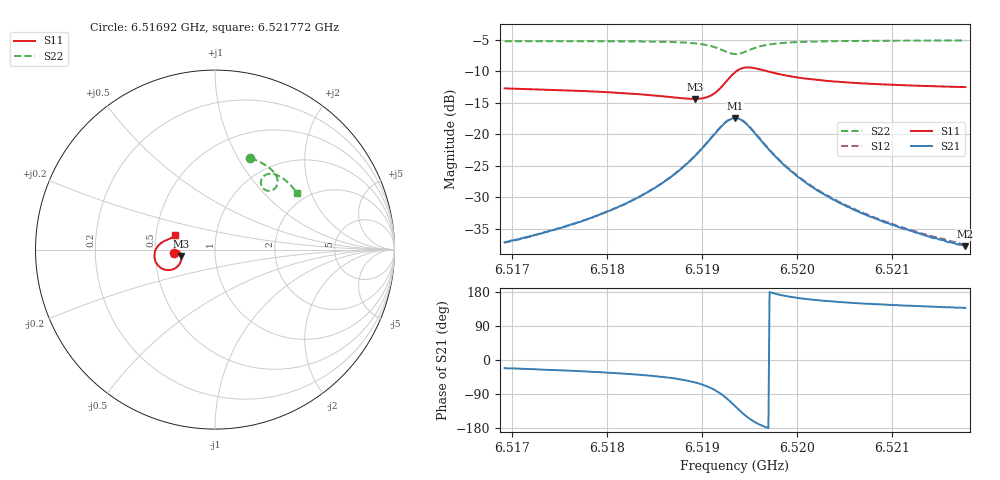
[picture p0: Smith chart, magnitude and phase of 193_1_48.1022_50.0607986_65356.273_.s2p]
#  HZ  S  RI  R  50.00
! Rohde & Schwarz Vector Network Analyzer
! Rohde-Schwarz,ZNB20-2Port,1311601062101988,3.16
! Created: UTC 12/23/2023, 3:53:59 AM
! freq[Hz]  re:S11  im:S11  re:S21  im:S21  re:S12  im:S12  re:S22  im:S22
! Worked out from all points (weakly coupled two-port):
!   401 points, 6.51692 GHz to 6.521772 GHz, reference 50 ohm
!   highest |S21| = -17.42 dB at 6.519346 GHz (marker M1); lowest = -37.7 dB at 6.521772 GHz (marker M2)
!   lowest |S11| = -14.4 dB at 6.518921 GHz (marker M3), VSWR 1.47, Z = 34.1 - j2.47 ohm
!   |S11| at or under -10 dB: start of sweep to 6.519358 GHz; 6.519689 GHz to end of sweep
!   |S22| runs from -7.3 to -5.1 dB; largest |S21 - S12| = 0.0041
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6.5169196e9  -0.2308 -0.0184  0.013 -0.00507  0.0131 -0.00458  0.1976 0.5114
6.5171623e9  -0.2285 -0.0148  0.0141 -0.00616  0.0142 -0.0057  0.2155 0.5042
6.5177324e9  -0.2209 -0.00754  0.0178 -0.0102  0.018 -0.00953  0.2577 0.484
6.5181813e9  -0.2122 -0.00516  0.0225 -0.0164  0.0231 -0.0157  0.2915 0.4636
6.5185452e9  -0.2016 -0.00937  0.0285 -0.0273  0.0296 -0.0264  0.3194 0.4402
6.5187515e9  -0.1938 -0.0184  0.0326 -0.0394  0.0341 -0.0386  0.3353 0.4212
6.5189213e9  -0.1879 -0.035  0.0345 -0.0574  0.0365 -0.0567  0.3464 0.3981
6.5190305e9  -0.1876 -0.0539  0.0315 -0.0759  0.034 -0.0754  0.3492 0.377
6.5191154e9  -0.1943 -0.0749  0.0222 -0.0949  0.0252 -0.095  0.3447 0.3572
6.5192489e9  -0.2356 -0.1103  -0.0201 -0.1231  -0.0165 -0.1245  0.3133 0.329
6.5192974e9  -0.2628 -0.1141  -0.0451 -0.1238  -0.0417 -0.1261  0.2937 0.3277
6.5193459e9  -0.2919 -0.107  -0.0704 -0.1146  -0.0676 -0.1176  0.2745 0.3354
6.5193944e9  -0.3165 -0.0892  -0.0906 -0.0965  -0.0883 -0.0997  0.2609 0.3509
6.5194551e9  -0.334 -0.0586  -0.1027 -0.0678  -0.1014 -0.0714  0.2554 0.3744
6.5195643e9  -0.3336 -0.00917  -0.097 -0.0256  -0.097 -0.0288  0.2694 0.4066
6.5196734e9  -0.3178 0.0199  -0.0801 -0.00351  -0.0809 -0.00584  0.2921 0.4203
6.5198918e9  -0.2889 0.0439  -0.0534 0.011  -0.0543 0.0095  0.329 0.421
6.5201587e9  -0.2675 0.0541  -0.0358 0.0136  -0.0365 0.0127  0.3594 0.409
6.5205105e9  -0.2516 0.0609  -0.024 0.0127  -0.0247 0.0122  0.3885 0.3894
6.5209715e9  -0.2387 0.0677  -0.0161 0.011  -0.0166 0.0107  0.4182 0.3622
6.5214082e9  -0.2298 0.0738  -0.0118 0.00962  -0.0124 0.00954  0.4418 0.3356
6.5217722e9  -0.2237 0.0788  -0.00958 0.00875  -0.0101 0.00874  0.4595 0.313
